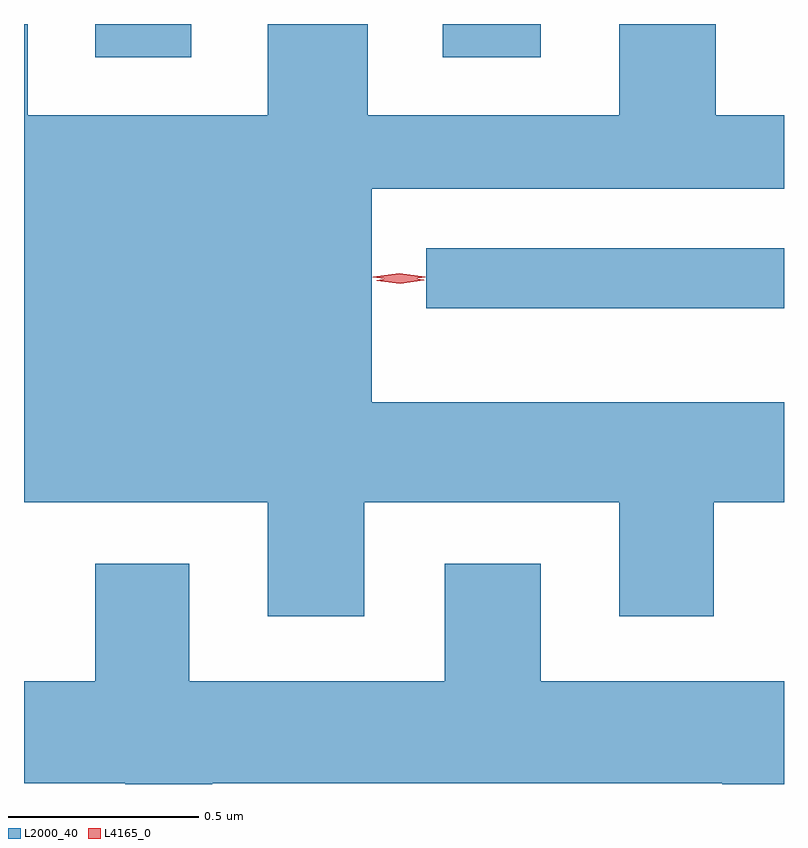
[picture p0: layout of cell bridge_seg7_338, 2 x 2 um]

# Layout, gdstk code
import gdstk
lib = gdstk.Library(unit=1e-6, precision=1e-09)
def R(c, l, rs):  # rectangles x0, y0, x1, y1
    for r in rs: c.add(gdstk.rectangle(r[:2], r[2:], *l))
def P(c, l, *ps):  # polygons
    for p in ps: c.add(gdstk.Polygon(p, *l))
L2000_40 = (2000, 40)
L4165_0 = (4165, 0)

bridge_seg7_338 = lib.new_cell('bridge_seg7_338')
R(bridge_seg7_338, L2000_40, [(1127.463,1777.726,1128.404,1777.884), (1126.591,1778.386,1126.844,1778.474), (1127.506,1778.386,1127.764,1778.474)])
P(bridge_seg7_338, L2000_40, [(1127.299,1777.216),(1127.971,1777.216),(1127.971,1776.916),(1128.219,1776.916),(1128.219,1777.216),(1128.404,1777.216),(1128.404,1777.479),(1127.319,1777.479),(1127.319,1778.041),(1128.404,1778.041),(1128.404,1778.234),(1128.224,1778.234),(1128.224,1778.474),(1127.971,1778.474),(1127.971,1778.234),(1127.309,1778.234),(1127.309,1778.474),(1127.046,1778.474),(1127.046,1778.234),(1126.414,1778.234),(1126.414,1778.474),(1126.404,1778.474),(1126.404,1777.216),(1127.046,1777.216),(1127.046,1776.916),(1127.299,1776.916)],
  [(1126.899,1776.476),(1128.241,1776.476),(1128.241,1776.474),(1128.404,1776.474),(1128.404,1776.744),(1127.764,1776.744),(1127.764,1777.054),(1127.511,1777.054),(1127.511,1776.744),(1126.839,1776.744),(1126.839,1777.054),(1126.591,1777.054),(1126.591,1776.744),(1126.404,1776.744),(1126.404,1776.476),(1126.671,1776.476),(1126.671,1776.474),(1126.899,1776.474)])
P(bridge_seg7_338, L4165_0, [(1127.391,1777.798),(1127.323,1777.808),(1127.322,1777.808),(1127.323,1777.809),(1127.391,1777.818),(1127.46,1777.809),(1127.46,1777.808),(1127.46,1777.808)],
  [(1127.394,1777.79),(1127.332,1777.799),(1127.332,1777.8),(1127.332,1777.8),(1127.394,1777.81),(1127.456,1777.801),(1127.457,1777.8),(1127.456,1777.8)])

lib.write_gds('bridge_seg7_338.gds')
